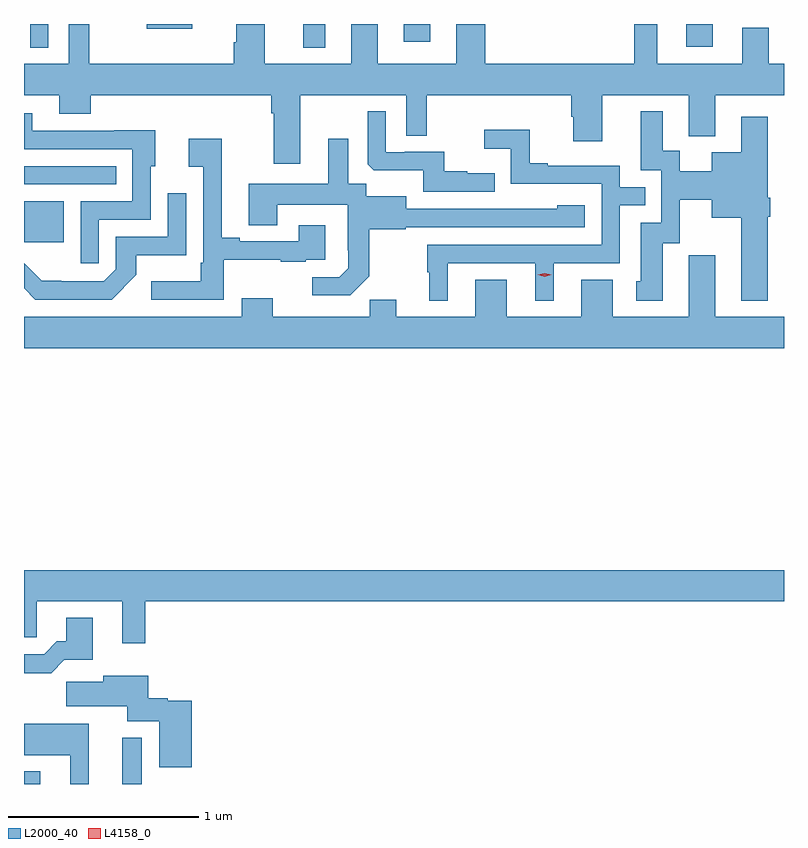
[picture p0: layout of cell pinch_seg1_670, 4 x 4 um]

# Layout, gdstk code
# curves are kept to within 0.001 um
import gdstk
lib = gdstk.Library(unit=1e-6, precision=1e-09)
def R(c, l, rs):  # rectangles x0, y0, x1, y1
    for r in rs: c.add(gdstk.rectangle(r[:2], r[2:], *l))
def P(c, l, *ps):  # polygons
    for p in ps: c.add(gdstk.Polygon(p, *l))
L2000_40 = (2000, 40)
L4158_0 = (4158, 0)

pinch_seg1_670 = lib.new_cell('pinch_seg1_670')
R(pinch_seg1_670, L2000_40, [(744.917,546.774,745.003,546.841), (745.433,546.774,745.537,547.018), (744.917,549.626,745.126,549.841), (744.917,549.93,745.403,550.026), (744.951,550.649,745.044,550.774), (746.387,550.65,746.503,550.774), (748.403,550.653,748.543,550.774), (746.915,550.68,747.055,550.774), (745.563,550.748,745.803,550.774)])
P(pinch_seg1_670, L2000_40, [(746.371,550.4),(746.928,550.4),(746.928,550.186),(747.037,550.186),(747.037,550.4),(747.797,550.4),(747.797,550.287),(747.809,550.287),(747.809,550.158),(747.961,550.158),(747.961,550.4),(748.415,550.4),(748.415,550.184),(748.555,550.184),(748.555,550.4),(748.917,550.4),(748.917,550.564),(748.837,550.564),(748.837,550.754),(748.698,550.754),(748.698,550.564),(748.249,550.564),(748.249,550.774),(748.128,550.774),(748.128,550.564),(747.344,550.564),(747.344,550.774),(747.191,550.774),(747.191,550.564),(746.779,550.564),(746.779,550.774),(746.639,550.774),(746.639,550.564),(746.185,550.564),(746.185,550.774),(746.033,550.774),(746.033,550.677),(746.021,550.677),(746.021,550.564),(745.261,550.564),(745.261,550.774),(745.152,550.774),(745.152,550.564),(744.917,550.564),(744.917,550.4),(745.103,550.4),(745.103,550.301),(745.267,550.301),(745.267,550.4),(746.219,550.4),(746.219,550.304),(746.231,550.304),(746.231,550.038),(746.371,550.038)],
  [(747.395,549.988),(747.251,549.988),(747.251,550),(747.128,550),(747.128,550.101),(746.92,550.101),(746.92,550.098),(746.82,550.098),(746.82,550.315),(746.727,550.315),(746.727,550.035),(746.759,550.004),(747.018,550.004),(747.018,549.891),(747.395,549.891)],
  [(748.831,549.759),(748.844,549.759),(748.844,549.859),(748.831,549.859),(748.831,550.285),(748.691,550.285),(748.691,550.099),(748.538,550.099),(748.538,550),(748.369,550),(748.369,550.106),(748.279,550.106),(748.279,550.315),(748.163,550.315),(748.163,550.005),(748.272,550.005),(748.272,549.729),(748.163,549.729),(748.163,549.42),(748.139,549.42),(748.139,549.318),(748.279,549.318),(748.279,549.621),(748.368,549.621),(748.368,549.848),(748.538,549.848),(748.538,549.755),(748.691,549.755),(748.691,549.317),(748.831,549.317)],
  [(745.311,549.744),(745.584,549.744),(745.584,550.026),(745.609,550.026),(745.609,550.214),(745.391,550.214),(745.391,550.212),(744.961,550.212),(744.961,550.303),(744.917,550.303),(744.917,550.116),(745.488,550.116),(745.488,549.84),(745.215,549.84),(745.215,549.516),(745.311,549.516)],
  [(747.148,549.516),(747.608,549.516),(747.608,549.317),(747.706,549.317),(747.706,549.516),(748.053,549.516),(748.053,549.819),(748.187,549.819),(748.187,549.915),(748.053,549.915),(748.053,550.029),(747.673,550.029),(747.673,550.042),(747.579,550.042),(747.579,550.217),(747.339,550.217),(747.339,550.118),(747.48,550.118),(747.48,549.933),(747.957,549.933),(747.957,549.612),(747.039,549.612),(747.039,549.468),(747.05,549.468),(747.05,549.317),(747.148,549.317)],
  [(746.733,549.447),(746.733,549.693),(746.925,549.693),(746.925,549.705),(747.868,549.705),(747.868,549.82),(747.723,549.82),(747.723,549.802),(746.929,549.801),(746.929,549.868),(746.718,549.868),(746.718,549.932),(746.623,549.932),(746.623,550.171),(746.519,550.171),(746.519,549.934),(746.099,549.934),(746.099,549.715),(746.251,549.715),(746.251,549.824),(746.622,549.824),(746.622,549.583),(746.624,549.583),(746.624,549.488),(746.577,549.441),(746.433,549.441),(746.433,549.347),(746.633,549.347)],
  [(745.969,549.533),(746.267,549.533),(746.267,549.522),(746.399,549.522),(746.399,549.534),(746.503,549.534),(746.503,549.715),(746.363,549.715),(746.363,549.63),(746.053,549.63),(746.053,549.649),(745.957,549.649),(745.957,550.171),(745.785,550.171),(745.785,550.022),(745.86,550.022),(745.86,549.517),(745.848,549.517),(745.848,549.421),(745.587,549.421),(745.587,549.324),(745.969,549.324)],
  [(745.509,549.455),(745.509,549.557),(745.77,549.557),(745.77,549.883),(745.674,549.883),(745.674,549.654),(745.401,549.654),(745.401,549.483),(745.338,549.42),(745.114,549.42),(745.114,549.422),(745.01,549.422),(744.917,549.514),(744.917,549.383),(744.975,549.324),(745.378,549.324)],
  [(748.917,549.232),(748.555,549.232),(748.555,549.556),(748.416,549.556),(748.416,549.443),(748.415,549.443),(748.415,549.232),(748.015,549.232),(748.015,549.427),(747.851,549.427),(747.851,549.232),(747.457,549.232),(747.457,549.427),(747.293,549.427),(747.293,549.232),(746.875,549.232),(746.875,549.323),(746.737,549.323),(746.737,549.232),(746.227,549.232),(746.227,549.331),(746.063,549.331),(746.063,549.232),(744.917,549.232),(744.917,549.068),(748.917,549.068)],
  [(745.555,547.736),(748.917,547.736),(748.917,547.9),(744.917,547.9),(744.917,547.546),(744.984,547.546),(744.984,547.736),(745.433,547.736),(745.433,547.515),(745.555,547.515)],
  [(745.13,547.427),(745.279,547.427),(745.279,547.648),(745.139,547.648),(745.139,547.525),(745.09,547.525),(745.023,547.458),(744.917,547.458),(744.917,547.358),(745.061,547.358)],
  [(745.799,547.213),(745.674,547.213),(745.674,547.226),(745.57,547.226),(745.57,547.345),(745.334,547.345),(745.334,547.313),(745.14,547.313),(745.14,547.184),(745.46,547.184),(745.46,547.103),(745.628,547.103),(745.628,546.861),(745.799,546.861)],
  [(745.258,547.09),(744.917,547.09),(744.917,546.926),(745.16,546.926),(745.16,546.774),(745.258,546.774)])
P(pinch_seg1_670, L4158_0, [(747.657,549.443),(747.622,549.453),(747.621,549.453),(747.622,549.453),(747.657,549.463),(747.692,549.453),(747.693,549.453),(747.692,549.453)])

lib.write_gds('pinch_seg1_670.gds')
